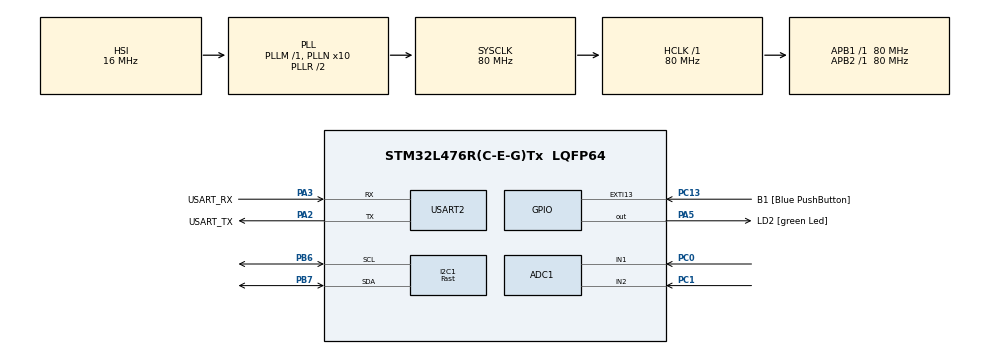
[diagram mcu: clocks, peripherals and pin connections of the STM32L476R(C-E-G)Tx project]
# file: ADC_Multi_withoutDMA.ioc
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ADC1.Channel-0\#ChannelRegularConversion=ADC_CHANNEL_1
ADC1.Channel-1\#ChannelRegularConversion=ADC_CHANNEL_2
ADC1.Channel-2\#ChannelRegularConversion=ADC_CHANNEL_TEMPSENSOR
ADC1.ContinuousConvMode=DISABLE
ADC1.EOCSelection=ADC_EOC_SINGLE_CONV
ADC1.NbrOfConversion=3
ADC1.NbrOfConversionFlag=1
ADC1.OffsetNumber-0\#ChannelRegularConversion=ADC_OFFSET_NONE
ADC1.OffsetNumber-1\#ChannelRegularConversion=ADC_OFFSET_NONE
ADC1.OffsetNumber-2\#ChannelRegularConversion=ADC_OFFSET_NONE
ADC1.Overrun=ADC_OVR_DATA_PRESERVED
ADC1.Rank-0\#ChannelRegularConversion=1
ADC1.Rank-1\#ChannelRegularConversion=2
ADC1.Rank-2\#ChannelRegularConversion=3
ADC1.SamplingTime-0\#ChannelRegularConversion=ADC_SAMPLETIME_12CYCLES_5
ADC1.SamplingTime-1\#ChannelRegularConversion=ADC_SAMPLETIME_24CYCLES_5
ADC1.SamplingTime-2\#ChannelRegularConversion=ADC_SAMPLETIME_47CYCLES_5
ADC1.master=1
I2C1.I2C_Speed_Mode=I2C_Fast
I2C1.Timing=0x00702991
Mcu.Family=STM32L4
Mcu.Name=STM32L476R(C-E-G)Tx
Mcu.Package=LQFP64
NVIC.PriorityGroup=NVIC_PRIORITYGROUP_4
PA13\ (JTMS-SWDIO).GPIO_Label=TMS
PA13\ (JTMS-SWDIO).Mode=Serial_Wire
PA13\ (JTMS-SWDIO).Signal=SYS_JTMS-SWDIO
PA14\ (JTCK-SWCLK).GPIO_Label=TCK
PA14\ (JTCK-SWCLK).Mode=Serial_Wire
PA14\ (JTCK-SWCLK).Signal=SYS_JTCK-SWCLK
PA2.GPIO_Label=USART_TX
PA2.GPIO_Mode=GPIO_MODE_AF_PP
PA2.GPIO_PuPd=GPIO_NOPULL
PA2.GPIO_Speed=GPIO_SPEED_FREQ_VERY_HIGH
PA2.Mode=Asynchronous
PA2.Signal=USART2_TX
PA3.GPIO_Label=USART_RX
PA3.GPIO_Mode=GPIO_MODE_AF_PP
PA3.GPIO_PuPd=GPIO_NOPULL
PA3.GPIO_Speed=GPIO_SPEED_FREQ_VERY_HIGH
PA3.Mode=Asynchronous
PA3.Signal=USART2_RX
PA5.GPIO_Label=LD2 [green Led]
PA5.GPIO_ModeDefaultOutputPP=GPIO_MODE_OUTPUT_PP
PA5.GPIO_PuPd=GPIO_NOPULL
PA5.GPIO_Speed=GPIO_SPEED_FREQ_LOW
PA5.Signal=GPIO_Output
PB3\ (JTDO-TRACESWO).GPIO_Label=SWO
PB3\ (JTDO-TRACESWO).Signal=SYS_JTDO-SWO
PB6.Mode=I2C
PB6.Signal=I2C1_SCL
PB7.Mode=I2C
PB7.Signal=I2C1_SDA
PC0.Signal=ADCx_IN1
PC1.Signal=ADCx_IN2
PC13.GPIO_Label=B1 [Blue PushButton]
PC13.GPIO_ModeDefaultEXTI=GPIO_MODE_IT_FALLING
PC13.GPIO_PuPd=GPIO_NOPULL
PC13.Signal=GPXTI13
PC14-OSC32_IN\ (PC14).Mode=LSE-External-Oscillator
PC14-OSC32_IN\ (PC14).Signal=RCC_OSC32_IN
PC15-OSC32_OUT\ (PC15).Mode=LSE-External-Oscillator
PC15-OSC32_OUT\ (PC15).Signal=RCC_OSC32_OUT
PH0-OSC_IN\ (PH0).Signal=RCC_OSC_IN
PH1-OSC_OUT\ (PH1).Signal=RCC_OSC_OUT
ProjectManager.HeapSize=0x200
ProjectManager.StackSize=0x400
ProjectManager.TargetToolchain=STM32CubeIDE
RCC.ADCFreq_Value=64000000
RCC.AHBFreq_Value=80000000
RCC.APB1Freq_Value=80000000
RCC.APB1TimFreq_Value=80000000
RCC.APB2Freq_Value=80000000
RCC.APB2TimFreq_Value=80000000
RCC.CortexFreq_Value=80000000
RCC.HCLKFreq_Value=80000000
RCC.HSE_VALUE=8000000
RCC.HSI_VALUE=16000000
RCC.MSI_VALUE=4000000
RCC.PLLN=10
RCC.PLLSourceVirtual=RCC_PLLSOURCE_HSI
RCC.PREFETCH_ENABLE=1
RCC.SYSCLKFreq_VALUE=80000000
RCC.SYSCLKSource=RCC_SYSCLKSOURCE_PLLCLK
RCC.USBFreq_Value=64000000
RCC.VCOOutputFreq_Value=160000000
SH.ADCx_IN1.0=ADC1_IN1,IN1-Single-Ended
SH.ADCx_IN2.0=ADC1_IN2,IN2-Single-Ended
USART2.VirtualMode-Asynchronous=VM_ASYNC
VP_ADC1_TempSens_Input.Mode=IN-TempSens
board=NUCLEO-L476RG

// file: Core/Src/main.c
/* USER CODE BEGIN Header */
/**
  ******************************************************************************
  * @file           : main.c
  * @brief          : Main program body
  ******************************************************************************
  * @attention
  *
  * Copyright (c) 2022 STMicroelectronics.
  * All rights reserved.
  *
  * This software is licensed under terms that can be found in the LICENSE file
  * in the root directory of this software component.
  * If no LICENSE file comes with this software, it is provided AS-IS.
  *
  ******************************************************************************
  */
/* USER CODE END Header */
#include "main.h"

/* USER CODE BEGIN Includes */
#include "ssd1306.h"
#include "fonts.h"
#include "test.h"
#include "bitmap.h"
#include "horse_anim.h"
#include "string.h"
#include "stdio.h"
/* USER CODE END Includes */

 ADC_HandleTypeDef hadc1;

I2C_HandleTypeDef hi2c1;

UART_HandleTypeDef huart2;

void SystemClock_Config(void);
static void MX_GPIO_Init(void);
static void MX_USART2_UART_Init(void);
static void MX_ADC1_Init(void);
static void MX_I2C1_Init(void);

/* USER CODE BEGIN 0 */

void ADC_Select_CH1 (void)
  {
  	  ADC_ChannelConfTypeDef sConfig = {0};
  	  /** Configure for the selected ADC regular channel its corresponding rank in the sequencer and its sample time.
  	  */
  	  sConfig.Channel = ADC_CHANNEL_1;
  	  sConfig.Rank = 1;
  	  sConfig.SamplingTime = ADC_SAMPLETIME_12CYCLES_5;;
  	  if (HAL_ADC_ConfigChannel(&hadc1, &sConfig) != HAL_OK)
  	  {
  	    Error_Handler();
  	  }
  }

  void ADC_Select_CH2 (void)
  {
  	  ADC_ChannelConfTypeDef sConfig = {0};
  	  /** Configure for the selected ADC regular channel its corresponding rank in the sequencer and its sample time.
  	  */
  	  sConfig.Channel = ADC_CHANNEL_2;
  	  sConfig.Rank = 1;
  	  sConfig.SamplingTime = ADC_SAMPLETIME_24CYCLES_5;;
  	  if (HAL_ADC_ConfigChannel(&hadc1, &sConfig) != HAL_OK)
  	  {
  	    Error_Handler();
  	  }
  }

  void ADC_Select_CHTemp (void)
  {
  	  ADC_ChannelConfTypeDef sConfig = {0};
  	  /** Configure for the selected ADC regular channel its corresponding rank in the sequencer and its sample time.
  	  */
  	  sConfig.Channel = ADC_CHANNEL_TEMPSENSOR;
  	  sConfig.Rank = 1;
  	  sConfig.SamplingTime = ADC_SAMPLETIME_47CYCLES_5;;
  	  if (HAL_ADC_ConfigChannel(&hadc1, &sConfig) != HAL_OK)
  	  {
  	    Error_Handler();
  	  }
  }

uint16_t ADC_VAL[3];// = 4096; // adc_value
float Temp = 0;
char msg[5];

uint16_t var=0;
float val = 0.0;

#define Avg_Slope .0025
#define V25 0.76
/* USER CODE END 0 */

int main(void)
{

  /* MCU Configuration--------------------------------------------------------*/

  /* Reset of all peripherals, Initializes the Flash interface and the Systick. */
  HAL_Init();

  /* Configure the system clock */
  SystemClock_Config();

  /* Initialize all configured peripherals */
  MX_GPIO_Init();
  MX_USART2_UART_Init();
  MX_ADC1_Init();
  MX_I2C1_Init();
  /* USER CODE BEGIN 2 */
  SSD1306_Init (); // initialize the diaply
   SSD1306_GotoXY (0,0); // goto 10, 10
   SSD1306_Puts ("CH1: ", &Font_11x18, 1); // print Voltmeter_Back to Intel Nuc
   SSD1306_UpdateScreen(); // update screen
   //HAL_Delay(3000);
   SSD1306_GotoXY (0,20);
   SSD1306_Puts ("CH2: ", &Font_11x18, 1);
   SSD1306_GotoXY (0,40);
   SSD1306_Puts ("Temp: ", &Font_11x18, 1);
   SSD1306_UpdateScreen(); // update screen
  /* USER CODE END 2 */

  /* Infinite loop */
  while (1)
  {

    /* USER CODE BEGIN 3 */
	      /*var = val*4096/3.3;
	  	  val+=0.1;
	  	  if (val>=3.3) val=0;

	  	  HAL_DAC_SetValue(&hdac, DAC_CHANNEL_1, DAC_ALIGN_12B_R, var);
	  	  HAL_DAC_Start(&hdac, DAC_CHANNEL_1);*/
	  	  //DAC

	      ADC_Select_CH1();
	 	  HAL_ADC_Start(&hadc1);
	 	  HAL_ADC_PollForConversion(&hadc1, HAL_MAX_DELAY);
	 	  ADC_VAL[0] = HAL_ADC_GetValue(&hadc1);
	 	  HAL_ADC_Stop(&hadc1);

	 	  ADC_Select_CH2();
	 	  HAL_ADC_Start(&hadc1);
	 	  HAL_ADC_PollForConversion(&hadc1, HAL_MAX_DELAY);
	 	  ADC_VAL[1] = HAL_ADC_GetValue(&hadc1);
	 	  HAL_ADC_Stop(&hadc1);

	 	  /*ADC_Select_CHTemp();
	 	  HAL_ADC_Start(&hadc1);
	 	  HAL_ADC_PollForConversion(&hadc1, 1000);
	 	  ADC_VAL[2] = HAL_ADC_GetValue(&hadc1);
	 	  HAL_ADC_Stop(&hadc1);*/

	 	 //ADC_VAL[1] = 0;
	 	  ADC_VAL[2] = 0;
	 	  Temp = ((3.3*ADC_VAL[2]/4095 - V25)/Avg_Slope)+45;//25;
	 	  //HAL_Delay (500);

	 	  sprintf(msg,"%hu\r\n",ADC_VAL[0]);
	 	  HAL_UART_Transmit(&huart2, (uint8_t*)msg, strlen(msg), HAL_MAX_DELAY);

	 	  sprintf(msg,"%hu\r\n",ADC_VAL[1]);
	 	  HAL_UART_Transmit(&huart2, (uint8_t*)msg, strlen(msg), HAL_MAX_DELAY);

	 	 sprintf(msg,"%hu\r\n",(uint16_t)Temp);
	 	 HAL_UART_Transmit(&huart2, (uint8_t*)msg, strlen(msg), HAL_MAX_DELAY);

	 	SSD1306_GotoXY (60,0); // goto 10, 10
	 	SSD1306_Putc ((char)(ADC_VAL[0]/1000+48), &Font_11x18, 1);
	 	SSD1306_Putc ((char)((ADC_VAL[0]%1000)/100+48), &Font_11x18, 1);
	 	SSD1306_Putc ((char)((ADC_VAL[0]%100)/10+48), &Font_11x18, 1);
	 	SSD1306_Putc ((char)(ADC_VAL[0]%10+48), &Font_11x18, 1);

	 	SSD1306_GotoXY (60,20); // goto 10, 10
	 	SSD1306_Putc ((char)(ADC_VAL[1]/1000+48), &Font_11x18, 1);
	 	SSD1306_Putc ((char)((ADC_VAL[1]%1000)/100+48), &Font_11x18, 1);
	 	SSD1306_Putc ((char)((ADC_VAL[1]%100)/10+48), &Font_11x18, 1);
	 	SSD1306_Putc ((char)(ADC_VAL[1]%10+48), &Font_11x18, 1);

	 	Temp = 0;//Temp*10;
	 	SSD1306_GotoXY (60,40); // goto 10, 10
	 	SSD1306_Putc ((char)((int)(Temp)/100+48), &Font_11x18, 1);
	 	SSD1306_Putc ((char)(((int)(Temp)%100)/10+48), &Font_11x18, 1);
	 	SSD1306_Puts (".", &Font_11x18, 1);
	 	SSD1306_Putc ((char)((int)(Temp)%10+48), &Font_11x18, 1);
	 	SSD1306_UpdateScreen(); // update sc
	 	HAL_Delay (500);
  }
  /* USER CODE END 3 */
}

void SystemClock_Config(void)
{
  RCC_OscInitTypeDef RCC_OscInitStruct = {0};
  RCC_ClkInitTypeDef RCC_ClkInitStruct = {0};

  /** Configure the main internal regulator output voltage
  */
  if (HAL_PWREx_ControlVoltageScaling(PWR_REGULATOR_VOLTAGE_SCALE1) != HAL_OK)
  {
    Error_Handler();
  }

  /** Initializes the RCC Oscillators according to the specified parameters
  * in the RCC_OscInitTypeDef structure.
  */
  RCC_OscInitStruct.OscillatorType = RCC_OSCILLATORTYPE_HSI;
  RCC_OscInitStruct.HSIState = RCC_HSI_ON;
  RCC_OscInitStruct.HSICalibrationValue = RCC_HSICALIBRATION_DEFAULT;
  RCC_OscInitStruct.PLL.PLLState = RCC_PLL_ON;
  RCC_OscInitStruct.PLL.PLLSource = RCC_PLLSOURCE_HSI;
  RCC_OscInitStruct.PLL.PLLM = 1;
  RCC_OscInitStruct.PLL.PLLN = 10;
  RCC_OscInitStruct.PLL.PLLP = RCC_PLLP_DIV7;
  RCC_OscInitStruct.PLL.PLLQ = RCC_PLLQ_DIV2;
  RCC_OscInitStruct.PLL.PLLR = RCC_PLLR_DIV2;
  if (HAL_RCC_OscConfig(&RCC_OscInitStruct) != HAL_OK)
  {
    Error_Handler();
  }

  /** Initializes the CPU, AHB and APB buses clocks
  */
  RCC_ClkInitStruct.ClockType = RCC_CLOCKTYPE_HCLK|RCC_CLOCKTYPE_SYSCLK
                              |RCC_CLOCKTYPE_PCLK1|RCC_CLOCKTYPE_PCLK2;
  RCC_ClkInitStruct.SYSCLKSource = RCC_SYSCLKSOURCE_PLLCLK;
  RCC_ClkInitStruct.AHBCLKDivider = RCC_SYSCLK_DIV1;
  RCC_ClkInitStruct.APB1CLKDivider = RCC_HCLK_DIV1;
  RCC_ClkInitStruct.APB2CLKDivider = RCC_HCLK_DIV1;

  if (HAL_RCC_ClockConfig(&RCC_ClkInitStruct, FLASH_LATENCY_4) != HAL_OK)
  {
    Error_Handler();
  }
}

static void MX_ADC1_Init(void)
{

  ADC_MultiModeTypeDef multimode = {0};
  //ADC_ChannelConfTypeDef sConfig = {0};

  /** Common config
  */
  hadc1.Instance = ADC1;
  hadc1.Init.ClockPrescaler = ADC_CLOCK_ASYNC_DIV1;
  hadc1.Init.Resolution = ADC_RESOLUTION_12B;
  hadc1.Init.DataAlign = ADC_DATAALIGN_RIGHT;
  hadc1.Init.ScanConvMode = ADC_SCAN_ENABLE;
  hadc1.Init.EOCSelection = ADC_EOC_SINGLE_CONV;
  hadc1.Init.LowPowerAutoWait = DISABLE;
  hadc1.Init.ContinuousConvMode = DISABLE;
  hadc1.Init.NbrOfConversion = 1;//3;
  hadc1.Init.DiscontinuousConvMode = DISABLE;
  hadc1.Init.ExternalTrigConv = ADC_SOFTWARE_START;
  hadc1.Init.ExternalTrigConvEdge = ADC_EXTERNALTRIGCONVEDGE_NONE;
  hadc1.Init.DMAContinuousRequests = DISABLE;
  hadc1.Init.Overrun = ADC_OVR_DATA_PRESERVED;
  hadc1.Init.OversamplingMode = DISABLE;
  if (HAL_ADC_Init(&hadc1) != HAL_OK)
  {
    Error_Handler();
  }

  /** Configure the ADC multi-mode
  */
  multimode.Mode = ADC_MODE_INDEPENDENT;
  if (HAL_ADCEx_MultiModeConfigChannel(&hadc1, &multimode) != HAL_OK)
  {
    Error_Handler();
  }

}

static void MX_I2C1_Init(void)
{

  hi2c1.Instance = I2C1;
  hi2c1.Init.Timing = 0x00702991;
  hi2c1.Init.OwnAddress1 = 0;
  hi2c1.Init.AddressingMode = I2C_ADDRESSINGMODE_7BIT;
  hi2c1.Init.DualAddressMode = I2C_DUALADDRESS_DISABLE;
  hi2c1.Init.OwnAddress2 = 0;
  hi2c1.Init.OwnAddress2Masks = I2C_OA2_NOMASK;
  hi2c1.Init.GeneralCallMode = I2C_GENERALCALL_DISABLE;
  hi2c1.Init.NoStretchMode = I2C_NOSTRETCH_DISABLE;
  if (HAL_I2C_Init(&hi2c1) != HAL_OK)
  {
    Error_Handler();
  }

  /** Configure Analogue filter
  */
  if (HAL_I2CEx_ConfigAnalogFilter(&hi2c1, I2C_ANALOGFILTER_ENABLE) != HAL_OK)
  {
    Error_Handler();
  }

  /** Configure Digital filter
  */
  if (HAL_I2CEx_ConfigDigitalFilter(&hi2c1, 0) != HAL_OK)
  {
    Error_Handler();
  }

}

static void MX_USART2_UART_Init(void)
{

  huart2.Instance = USART2;
  huart2.Init.BaudRate = 115200;
  huart2.Init.WordLength = UART_WORDLENGTH_8B;
  huart2.Init.StopBits = UART_STOPBITS_1;
  huart2.Init.Parity = UART_PARITY_NONE;
  huart2.Init.Mode = UART_MODE_TX_RX;
  huart2.Init.HwFlowCtl = UART_HWCONTROL_NONE;
  huart2.Init.OverSampling = UART_OVERSAMPLING_16;
  huart2.Init.OneBitSampling = UART_ONE_BIT_SAMPLE_DISABLE;
  huart2.AdvancedInit.AdvFeatureInit = UART_ADVFEATURE_NO_INIT;
  if (HAL_UART_Init(&huart2) != HAL_OK)
  {
    Error_Handler();
  }

}

static void MX_GPIO_Init(void)
{
  GPIO_InitTypeDef GPIO_InitStruct = {0};

  /* GPIO Ports Clock Enable */
  __HAL_RCC_GPIOC_CLK_ENABLE();
  __HAL_RCC_GPIOH_CLK_ENABLE();
  __HAL_RCC_GPIOA_CLK_ENABLE();
  __HAL_RCC_GPIOB_CLK_ENABLE();

  /*Configure GPIO pin Output Level */
  HAL_GPIO_WritePin(LD2_GPIO_Port, LD2_Pin, GPIO_PIN_RESET);

  /*Configure GPIO pin : B1_Pin */
  GPIO_InitStruct.Pin = B1_Pin;
  GPIO_InitStruct.Mode = GPIO_MODE_IT_FALLING;
  GPIO_InitStruct.Pull = GPIO_NOPULL;
  HAL_GPIO_Init(B1_GPIO_Port, &GPIO_InitStruct);

  /*Configure GPIO pin : LD2_Pin */
  GPIO_InitStruct.Pin = LD2_Pin;
  GPIO_InitStruct.Mode = GPIO_MODE_OUTPUT_PP;
  GPIO_InitStruct.Pull = GPIO_NOPULL;
  GPIO_InitStruct.Speed = GPIO_SPEED_FREQ_LOW;
  HAL_GPIO_Init(LD2_GPIO_Port, &GPIO_InitStruct);

}

void Error_Handler(void)
{
  __disable_irq();
  while (1)
  {
  }
}
